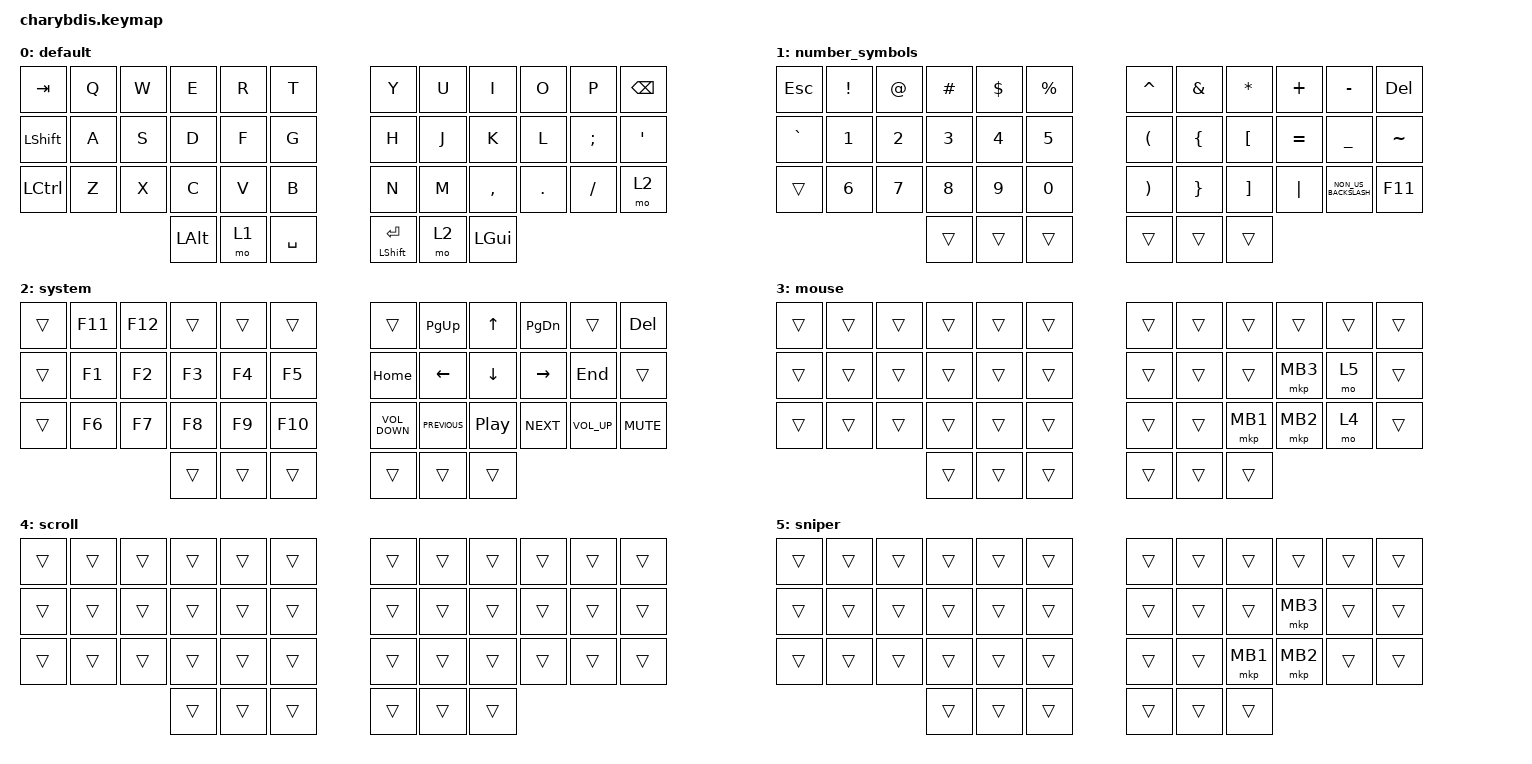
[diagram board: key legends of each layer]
/*
 * Copyright (c) 2020 The ZMK Contributors
 *
 * SPDX-License-Identifier: MIT
 */

#include "keys_nb_osx.h"
#include "keys_nb_win.h"
#include <behaviors.dtsi>
#include <dt-bindings/zmk/keys.h>
#include <dt-bindings/zmk/pointing.h>
#include <dt-bindings/zmk/mouse.h>


#define DEF 0
#define LWR 1
#define RSE 2
#define ADJ 3

&lt { quick_tap_ms = <220>; };

&mt { quick_tap_ms = <220>; };

/ {
    keymap {
        compatible = "zmk,keymap";

        default {
            // ------------------------------------------------------------------------------------------------
            //| LGUI/] |  Q  |  W  |  E  |  R  |  T  |   |  Y  |  U   |  I  |  O  |  P  | RGUI/[ | 
            //| CTRL/` |  A  |  S  |  D  |  F  |  G  |   |  H  |  J   |  K  |  L  |  ;  | CTRL/' |
            //| LALT/\ |  Z  |  X  |  C  |  V  |  B  |   |  N  |  M   |  ,  |  .  |  /  | RALT/- |
            //                             | RSE | SPC | LWR |   | LWR | BKSP | RSE |

            bindings = <
&kp TAB         &kp Q  &kp W  &kp E         &kp R  &kp T        &kp Y            &kp U  &kp I         &kp O    &kp P          &kp BACKSPACE
&kp LEFT_SHIFT  &kp A  &kp S  &kp D         &kp F  &kp G        &kp H            &kp J  &kp K         &kp L    &kp SEMICOLON  &kp SINGLE_QUOTE
&kp LCTRL       &kp Z  &kp X  &kp C         &kp V  &kp B        &kp N            &kp M  &kp COMMA     &kp DOT  &kp SLASH      &mo 2
                              &kp LEFT_ALT  &mo 1  &kp SPACE    &mt LSHFT ENTER  &mo 2  &kp LEFT_GUI
            >;
        };

        number_symbols {
            // -----------------------------------------------------------------------------------------
            //|LGUI/CAPS |  *  |  7 |  8  |  9  |  +  |    |  !  |  @  |  #  |  $  |  %  | RGUI/F1 |
            //|CTRL/MENU |  /  |  4 |  5  |  6  |  -  |    |  ^  |  &  |  *  |  (  |  )  | CTRL/F2 |
            //|  LALT/=  |  0  |  1 |  4  |  3  |  .  |    |  ls |  F4 |  F5 |  F6 |  F7 | RALT/F3 |
            //                      | ADJ | ___ | ___ |    | ___ | ___ | ADJ |

            bindings = <
&kp ESC    &kp EXCLAMATION  &kp AT_SIGN   &kp HASH      &kp DOLLAR    &kp PERCENT     &kp CARET              &kp AMPERSAND    &kp ASTERISK       &kp PLUS   &kp MINUS             &kp DELETE
&kp GRAVE  &kp NUMBER_1     &kp NUMBER_2  &kp NUMBER_3  &kp NUMBER_4  &kp NUMBER_5    &kp LEFT_PARENTHESIS   &kp LEFT_BRACE   &kp LEFT_BRACKET   &kp EQUAL  &kp UNDERSCORE        &kp TILDE
&trans     &kp NUMBER_6     &kp NUMBER_7  &kp NUMBER_8  &kp NUMBER_9  &kp NUMBER_0    &kp RIGHT_PARENTHESIS  &kp RIGHT_BRACE  &kp RIGHT_BRACKET  &kp PIPE   &kp NON_US_BACKSLASH  &kp F11
                                          &trans        &trans        &trans          &trans                 &trans           &trans
            >;
        };

        system {
            // -----------------------------------------------------------------------------------------
            //| LGUI |  VOLU  |  PGUP  | PLAY | HOME | ___  |            | ___  | HOME | PLAY| PGUP | VOLU | RGUI |
            //| CTRL |  VOLD  |  LEFT  |  UP  | DOWN | RGHT |            | RGHT | DOWN | UP  | LEFT | VOLD | CTRL | 
            //| LALT |  MUTE  |  PGDN  |  ___ | END  | ___  |            | ___  | END  | ___ | PGDN | MUTE | RALT |
            //                          | ___ | ___  | ADJ  |            | ADJ  | ___  | ___ |

            bindings = <
&trans  &kp F11  &kp F12  &trans  &trans  &trans     &trans             &kp PAGE_UP     &kp UP_ARROW      &kp PAGE_DOWN  &trans           &kp DELETE
&trans  &kp F1   &kp F2   &kp F3  &kp F4  &kp F5     &kp HOME           &kp LEFT        &kp DOWN          &kp RIGHT      &kp END          &trans
&trans  &kp F6   &kp F7   &kp F8  &kp F9  &kp F10    &kp C_VOLUME_DOWN  &kp C_PREVIOUS  &kp C_PLAY_PAUSE  &kp C_NEXT     &kp C_VOLUME_UP  &kp K_MUTE
                          &trans  &trans  &trans     &trans             &trans          &trans
            >;
        };

        mouse {
            bindings = <
&trans  &trans  &trans  &trans  &trans  &trans    &trans  &trans    &trans    &trans    &trans  &trans
&trans  &trans  &trans  &trans  &trans  &trans    &trans  &trans    &trans    &mkp MB3  &mo 5  &trans
&trans  &trans  &trans  &trans  &trans  &trans    &trans  &trans    &mkp MB1  &mkp MB2  &mo 4   &trans
                        &trans  &trans  &trans    &trans  &trans    &trans
            >;
        };

        scroll {
            bindings = <
&trans  &trans  &trans  &trans  &trans  &trans    &trans  &trans  &trans  &trans  &trans  &trans
&trans  &trans  &trans  &trans  &trans  &trans    &trans  &trans  &trans  &trans  &trans  &trans
&trans  &trans  &trans  &trans  &trans  &trans    &trans  &trans  &trans  &trans  &trans  &trans
                        &trans  &trans  &trans    &trans  &trans  &trans
            >;
        };
        
        sniper {
            bindings = <
&trans  &trans  &trans  &trans  &trans  &trans    &trans  &trans    &trans    &trans    &trans  &trans
&trans  &trans  &trans  &trans  &trans  &trans    &trans  &trans    &trans    &mkp MB3  &trans  &trans
&trans  &trans  &trans  &trans  &trans  &trans    &trans  &trans    &mkp MB1  &mkp MB2  &trans  &trans
                        &trans  &trans  &trans    &trans  &trans    &trans
            >;
        };
    };
};
